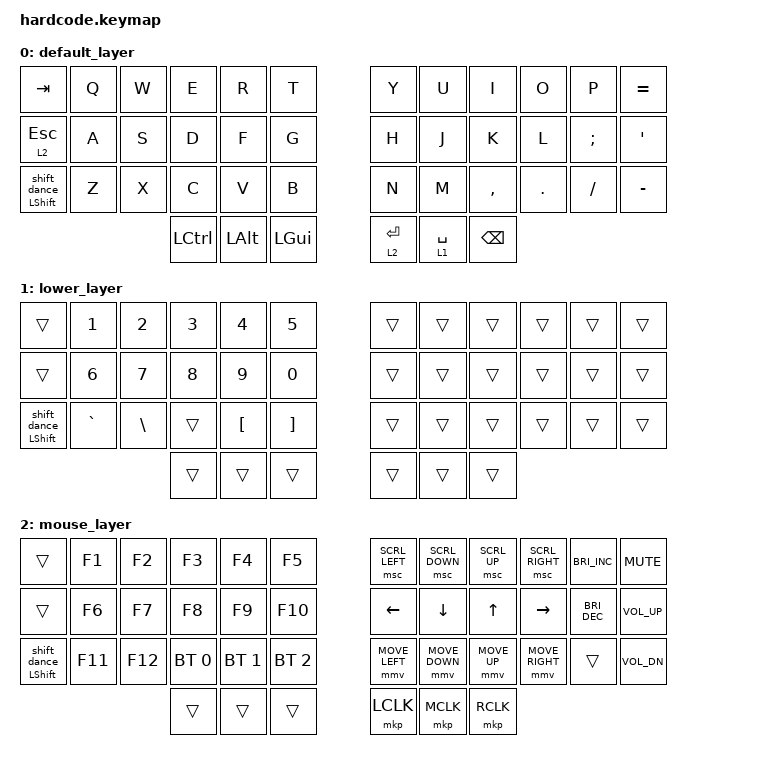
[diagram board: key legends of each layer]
/*
 * Copyright (c) 2020 The ZMK Contributors
 *
 * SPDX-License-Identifier: MIT
 */

#include <behaviors.dtsi>
#include <dt-bindings/zmk/keys.h>
#include <dt-bindings/zmk/bt.h>
#include <dt-bindings/zmk/pointing.h>

/ {
        behaviors {
                // Single tap: sticky shift, Double tap: caps word
                shift_dance: shift_tap_dance {
                        compatible = "zmk,behavior-tap-dance";
                        #binding-cells = <0>;
                        tapping-term-ms = <200>;
                        bindings = <&sk LSHIFT>, <&caps_word>;
                };

                // Tap: shift_dance, Hold: regular shift
                shift_mod: shift_modifier {
                        compatible = "zmk,behavior-hold-tap";
                        #binding-cells = <2>;
                        tapping-term-ms = <200>;
                        flavor = "tap-preferred";
                        bindings = <&kp>, <&shift_dance>;
                };
        };

        keymap {
                compatible = "zmk,keymap";

                default_layer {
// -----------------------------------------------------------------------------------------
// | TAB  |  Q  |  W  |  E  |  R  |  T  |   |  Y  |  U   |  I  |  O  |  P  | = |
// | ESC  |  A  |  S  |  D  |  F  |  G  |   |  H  |  J   |  K  |  L  |  ;  | ' |
// | SHFT |  Z  |  X  |  C  |  V  |  B  |   |  N  |  M   |  ,  |  .  |  /  | - |
//                    | CTRL | OPTION | CMD |   | ENT | SPACE  | BACKSPACE |
                        bindings = <
   &kp TAB              &kp Q &kp W &kp E     &kp R     &kp T    &kp Y     &kp U       &kp I     &kp O   &kp P    &kp EQUAL
   &lt 2 ESC            &kp A &kp S &kp D     &kp F     &kp G    &kp H     &kp J       &kp K     &kp L   &kp SEMI &kp SQT
   &shift_mod LSHIFT 0  &kp Z &kp X &kp C     &kp V     &kp B    &kp N     &kp M       &kp COMMA &kp DOT &kp FSLH &kp MINUS
                                    &kp LCTRL &kp LALT  &kp LGUI &lt 2 RET &lt 1 SPACE &kp BSPC
                        >;
                };
                lower_layer {
// -----------------------------------------------------------------------------------------
// | TAB  | 1 | 2 | 3 | 4 | 5 |   | | | | | | |
// | ESC  | 6 | 7 | 8 | 9 | 0 |   | | | | | | |
// | SHFT | ` | \ |   | [ | ] |   | | | | | | |
//                      | | | |   | | |
                        bindings = <
   &trans               &kp N1      &kp N2    &kp N3  &kp N4    &kp N5    &trans  &trans  &trans  &trans  &trans  &trans
   &trans               &kp N6      &kp N7    &kp N8  &kp N9    &kp N0    &trans  &trans  &trans  &trans  &trans  &trans
   &shift_mod LSHIFT 0  &kp GRAVE   &kp BSLH  &trans  &kp LBKT  &kp RBKT  &trans  &trans  &trans  &trans  &trans  &trans
                                              &trans  &trans    &trans    &trans  &trans  &trans
                        >;
                };

                mouse_layer {
// -----------------------------------------------------------------------------------------
// | TAB  | f1  | f2  | f3 | f4 | f5 |   | SCRL← | SCRL↓ | SCRL↑ | SCRL→ | bright+  | mute |
// | CTRL | f6  | f7  | f8 | f9 | f10|   | ←     | ↓     | ↑     | →     | bright-  | vol+ |
// | SHFT | f11 | f12 |BT1 | BT2| BT3|   | MOVE← | MOVE↓ | MOVE↑ | MOVE→ |          | vol- |
//                    |    |    |    |   |       |       |       |
                        bindings = <
   &trans               &kp F1   &kp F2   &kp F3        &kp F4        &kp F5        &msc SCRL_LEFT  &msc SCRL_DOWN  &msc SCRL_UP  &msc SCRL_RIGHT &kp C_BRI_INC  &kp C_MUTE
   &trans               &kp F6   &kp F7   &kp F8        &kp F9        &kp F10       &kp LEFT        &kp DOWN        &kp UP        &kp RIGHT       &kp C_BRI_DEC  &kp C_VOL_UP
   &shift_mod LSHIFT 0  &kp F11  &kp F12  &bt BT_SEL 0  &bt BT_SEL 1  &bt BT_SEL 2  &mmv MOVE_LEFT  &mmv MOVE_DOWN  &mmv MOVE_UP  &mmv MOVE_RIGHT &trans         &kp C_VOL_DN
                                          &trans        &trans        &trans        &mkp LCLK       &mkp MCLK       &mkp RCLK
                        >;
                };
        };
};
